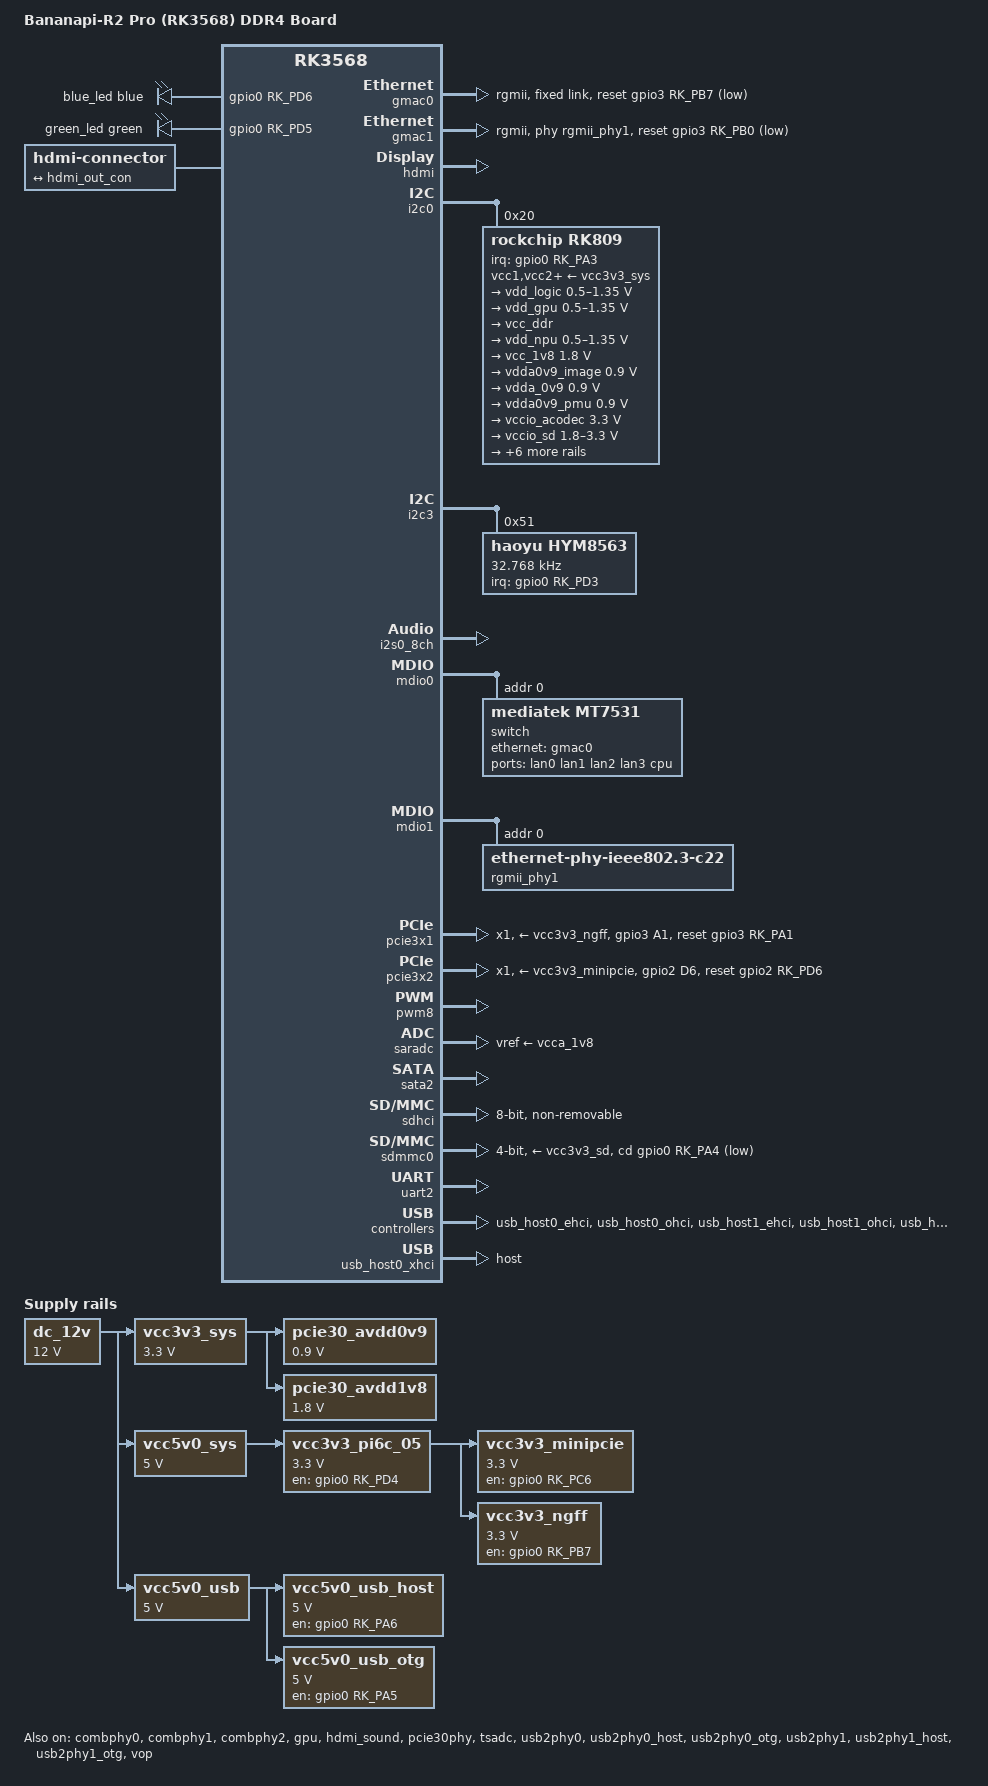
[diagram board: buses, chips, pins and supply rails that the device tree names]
// SPDX-License-Identifier: (GPL-2.0+ OR MIT)
/*
 * Author: Frank Wunderlich <frank-w@public-files.de>
 *
 */

/dts-v1/;
#include <dt-bindings/gpio/gpio.h>
#include <dt-bindings/leds/common.h>
#include <dt-bindings/pinctrl/rockchip.h>
#include <dt-bindings/soc/rockchip,vop2.h>
#include "rk3568.dtsi"

/ {
	model = "Bananapi-R2 Pro (RK3568) DDR4 Board";
	compatible = "rockchip,rk3568-bpi-r2pro", "rockchip,rk3568";

	aliases {
		ethernet0 = &gmac0;
		ethernet1 = &gmac1;
		mmc0 = &sdmmc0;
		mmc1 = &sdhci;
	};

	chosen: chosen {
		stdout-path = "serial2:1500000n8";
	};

	leds {
		compatible = "gpio-leds";
		pinctrl-names = "default";
		pinctrl-0 = <&blue_led_pin &green_led_pin>;

		blue_led: led-0 {
			color = <LED_COLOR_ID_BLUE>;
			default-state = "off";
			function = LED_FUNCTION_STATUS;
			gpios = <&gpio0 RK_PD6 GPIO_ACTIVE_HIGH>;
		};

		green_led: led-1 {
			color = <LED_COLOR_ID_GREEN>;
			default-state = "on";
			function = LED_FUNCTION_POWER;
			gpios = <&gpio0 RK_PD5 GPIO_ACTIVE_HIGH>;
		};
	};

	dc_12v: dc-12v-regulator {
		compatible = "regulator-fixed";
		regulator-name = "dc_12v";
		regulator-always-on;
		regulator-boot-on;
		regulator-min-microvolt = <12000000>;
		regulator-max-microvolt = <12000000>;
	};

	hdmi-con {
		compatible = "hdmi-connector";
		type = "a";

		port {
			hdmi_con_in: endpoint {
				remote-endpoint = <&hdmi_out_con>;
			};
		};
	};

	vcc3v3_sys: vcc3v3-sys-regulator {
		compatible = "regulator-fixed";
		regulator-name = "vcc3v3_sys";
		regulator-always-on;
		regulator-boot-on;
		regulator-min-microvolt = <3300000>;
		regulator-max-microvolt = <3300000>;
		vin-supply = <&dc_12v>;
	};

	vcc5v0_sys: vcc5v0-sys-regulator {
		compatible = "regulator-fixed";
		regulator-name = "vcc5v0_sys";
		regulator-always-on;
		regulator-boot-on;
		regulator-min-microvolt = <5000000>;
		regulator-max-microvolt = <5000000>;
		vin-supply = <&dc_12v>;
	};

	pcie30_avdd0v9: pcie30-avdd0v9-regulator {
		compatible = "regulator-fixed";
		regulator-name = "pcie30_avdd0v9";
		regulator-always-on;
		regulator-boot-on;
		regulator-min-microvolt = <900000>;
		regulator-max-microvolt = <900000>;
		vin-supply = <&vcc3v3_sys>;
	};

	pcie30_avdd1v8: pcie30-avdd1v8-regulator {
		compatible = "regulator-fixed";
		regulator-name = "pcie30_avdd1v8";
		regulator-always-on;
		regulator-boot-on;
		regulator-min-microvolt = <1800000>;
		regulator-max-microvolt = <1800000>;
		vin-supply = <&vcc3v3_sys>;
	};

	/* pi6c pcie clock generator feeds both ports */
	vcc3v3_pi6c_05: vcc3v3-pi6c-05-regulator {
		compatible = "regulator-fixed";
		regulator-name = "vcc3v3_pcie";
		regulator-min-microvolt = <3300000>;
		regulator-max-microvolt = <3300000>;
		enable-active-high;
		gpios = <&gpio0 RK_PD4 GPIO_ACTIVE_HIGH>;
		startup-delay-us = <200000>;
		vin-supply = <&vcc5v0_sys>;
	};

	/* actually fed by vcc3v3_sys, dependent on pi6c clock generator */
	vcc3v3_minipcie: vcc3v3-minipcie-regulator {
		compatible = "regulator-fixed";
		regulator-name = "vcc3v3_minipcie";
		regulator-min-microvolt = <3300000>;
		regulator-max-microvolt = <3300000>;
		enable-active-high;
		gpio = <&gpio0 RK_PC6 GPIO_ACTIVE_HIGH>;
		pinctrl-names = "default";
		pinctrl-0 = <&minipcie_enable_h>;
		startup-delay-us = <50000>;
		vin-supply = <&vcc3v3_pi6c_05>;
	};

	/* actually fed by vcc3v3_sys, dependent on pi6c clock generator */
	vcc3v3_ngff: vcc3v3-ngff-regulator {
		compatible = "regulator-fixed";
		regulator-name = "vcc3v3_ngff";
		regulator-min-microvolt = <3300000>;
		regulator-max-microvolt = <3300000>;
		enable-active-high;
		gpio = <&gpio0 RK_PB7 GPIO_ACTIVE_HIGH>;
		pinctrl-names = "default";
		pinctrl-0 = <&ngffpcie_enable_h>;
		startup-delay-us = <50000>;
		vin-supply = <&vcc3v3_pi6c_05>;
	};

	vcc5v0_usb: vcc5v0-usb-regulator {
		compatible = "regulator-fixed";
		regulator-name = "vcc5v0_usb";
		regulator-always-on;
		regulator-boot-on;
		regulator-min-microvolt = <5000000>;
		regulator-max-microvolt = <5000000>;
		vin-supply = <&dc_12v>;
	};

	vcc5v0_usb_host: vcc5v0-usb-host-regulator {
		compatible = "regulator-fixed";
		enable-active-high;
		gpio = <&gpio0 RK_PA6 GPIO_ACTIVE_HIGH>;
		pinctrl-names = "default";
		pinctrl-0 = <&vcc5v0_usb_host_en>;
		regulator-name = "vcc5v0_usb_host";
		regulator-min-microvolt = <5000000>;
		regulator-max-microvolt = <5000000>;
		vin-supply = <&vcc5v0_usb>;
	};

	vcc5v0_usb_otg: vcc5v0-usb-otg-regulator {
		compatible = "regulator-fixed";
		enable-active-high;
		gpio = <&gpio0 RK_PA5 GPIO_ACTIVE_HIGH>;
		pinctrl-names = "default";
		pinctrl-0 = <&vcc5v0_usb_otg_en>;
		regulator-name = "vcc5v0_usb_otg";
		regulator-min-microvolt = <5000000>;
		regulator-max-microvolt = <5000000>;
		vin-supply = <&vcc5v0_usb>;
	};
};

&combphy0 {
	/* used for USB3 */
	status = "okay";
};

&combphy1 {
	/* used for USB3 */
	status = "okay";
};

&combphy2 {
	/* used for SATA */
	status = "okay";
};

&gmac0 {
	assigned-clocks = <&cru SCLK_GMAC0_RX_TX>, <&cru SCLK_GMAC0>;
	assigned-clock-parents = <&cru SCLK_GMAC0_RGMII_SPEED>, <&cru CLK_MAC0_2TOP>;
	clock_in_out = "input";
	phy-mode = "rgmii";
	pinctrl-names = "default";
	pinctrl-0 = <&gmac0_miim
		     &gmac0_tx_bus2
		     &gmac0_rx_bus2
		     &gmac0_rgmii_clk
		     &gmac0_rgmii_bus>;
	snps,reset-gpio = <&gpio3 RK_PB7 GPIO_ACTIVE_LOW>;
	snps,reset-active-low;
	/* Reset time is 20ms, 100ms for rtl8211f */
	snps,reset-delays-us = <0 20000 100000>;
	tx_delay = <0x4f>;
	rx_delay = <0x0f>;
	status = "okay";

	fixed-link {
		speed = <1000>;
		full-duplex;
		pause;
	};
};

&gmac1 {
	assigned-clocks = <&cru SCLK_GMAC1_RX_TX>, <&cru SCLK_GMAC1>;
	assigned-clock-parents = <&cru SCLK_GMAC1_RGMII_SPEED>, <&cru CLK_MAC1_2TOP>;
	clock_in_out = "output";
	phy-handle = <&rgmii_phy1>;
	phy-mode = "rgmii";
	pinctrl-names = "default";
	pinctrl-0 = <&gmac1m1_miim
		     &gmac1m1_tx_bus2
		     &gmac1m1_rx_bus2
		     &gmac1m1_rgmii_clk
		     &gmac1m1_rgmii_bus>;

	snps,reset-gpio = <&gpio3 RK_PB0 GPIO_ACTIVE_LOW>;
	snps,reset-active-low;
	/* Reset time is 20ms, 100ms for rtl8211f */
	snps,reset-delays-us = <0 20000 100000>;

	tx_delay = <0x3c>;
	rx_delay = <0x2f>;

	status = "okay";
};

&gpu {
	mali-supply = <&vdd_gpu>;
	status = "okay";
};

&hdmi {
	avdd-0v9-supply = <&vdda0v9_image>;
	avdd-1v8-supply = <&vcca1v8_image>;
	status = "okay";
};

&hdmi_in {
	hdmi_in_vp0: endpoint {
		remote-endpoint = <&vp0_out_hdmi>;
	};
};

&hdmi_out {
	hdmi_out_con: endpoint {
		remote-endpoint = <&hdmi_con_in>;
	};
};

&hdmi_sound {
	status = "okay";
};

&i2c0 {
	status = "okay";

	rk809: pmic@20 {
		compatible = "rockchip,rk809";
		reg = <0x20>;
		interrupt-parent = <&gpio0>;
		interrupts = <RK_PA3 IRQ_TYPE_LEVEL_LOW>;
		#clock-cells = <1>;
		pinctrl-names = "default";
		pinctrl-0 = <&pmic_int>;
		rockchip,system-power-controller;
		vcc1-supply = <&vcc3v3_sys>;
		vcc2-supply = <&vcc3v3_sys>;
		vcc3-supply = <&vcc3v3_sys>;
		vcc4-supply = <&vcc3v3_sys>;
		vcc5-supply = <&vcc3v3_sys>;
		vcc6-supply = <&vcc3v3_sys>;
		vcc7-supply = <&vcc3v3_sys>;
		vcc8-supply = <&vcc3v3_sys>;
		vcc9-supply = <&vcc3v3_sys>;
		wakeup-source;

		regulators {
			vdd_logic: DCDC_REG1 {
				regulator-name = "vdd_logic";
				regulator-always-on;
				regulator-boot-on;
				regulator-init-microvolt = <900000>;
				regulator-initial-mode = <0x2>;
				regulator-min-microvolt = <500000>;
				regulator-max-microvolt = <1350000>;
				regulator-ramp-delay = <6001>;

				regulator-state-mem {
					regulator-off-in-suspend;
				};
			};

			vdd_gpu: DCDC_REG2 {
				regulator-name = "vdd_gpu";
				regulator-always-on;
				regulator-init-microvolt = <900000>;
				regulator-initial-mode = <0x2>;
				regulator-min-microvolt = <500000>;
				regulator-max-microvolt = <1350000>;
				regulator-ramp-delay = <6001>;

				regulator-state-mem {
					regulator-off-in-suspend;
				};
			};

			vcc_ddr: DCDC_REG3 {
				regulator-name = "vcc_ddr";
				regulator-always-on;
				regulator-boot-on;
				regulator-initial-mode = <0x2>;

				regulator-state-mem {
					regulator-on-in-suspend;
				};
			};

			vdd_npu: DCDC_REG4 {
				regulator-name = "vdd_npu";
				regulator-init-microvolt = <900000>;
				regulator-initial-mode = <0x2>;
				regulator-min-microvolt = <500000>;
				regulator-max-microvolt = <1350000>;
				regulator-ramp-delay = <6001>;

				regulator-state-mem {
					regulator-off-in-suspend;
				};
			};

			vcc_1v8: DCDC_REG5 {
				regulator-name = "vcc_1v8";
				regulator-always-on;
				regulator-boot-on;
				regulator-min-microvolt = <1800000>;
				regulator-max-microvolt = <1800000>;

				regulator-state-mem {
					regulator-off-in-suspend;
				};
			};

			vdda0v9_image: LDO_REG1 {
				regulator-name = "vdda0v9_image";
				regulator-always-on;
				regulator-min-microvolt = <900000>;
				regulator-max-microvolt = <900000>;

				regulator-state-mem {
					regulator-off-in-suspend;
				};
			};

			vdda_0v9: LDO_REG2 {
				regulator-name = "vdda_0v9";
				regulator-always-on;
				regulator-boot-on;
				regulator-min-microvolt = <900000>;
				regulator-max-microvolt = <900000>;

				regulator-state-mem {
					regulator-off-in-suspend;
				};
			};

			vdda0v9_pmu: LDO_REG3 {
				regulator-name = "vdda0v9_pmu";
				regulator-always-on;
				regulator-boot-on;
				regulator-min-microvolt = <900000>;
				regulator-max-microvolt = <900000>;

				regulator-state-mem {
					regulator-on-in-suspend;
					regulator-suspend-microvolt = <900000>;
				};
			};

			vccio_acodec: LDO_REG4 {
				regulator-name = "vccio_acodec";
				regulator-always-on;
				regulator-boot-on;
				regulator-min-microvolt = <3300000>;
				regulator-max-microvolt = <3300000>;

				regulator-state-mem {
					regulator-off-in-suspend;
				};
			};

			vccio_sd: LDO_REG5 {
				regulator-name = "vccio_sd";
				regulator-min-microvolt = <1800000>;
				regulator-max-microvolt = <3300000>;

				regulator-state-mem {
					regulator-off-in-suspend;
				};
			};

			vcc3v3_pmu: LDO_REG6 {
				regulator-name = "vcc3v3_pmu";
				regulator-always-on;
				regulator-boot-on;
				regulator-min-microvolt = <3300000>;
				regulator-max-microvolt = <3300000>;

				regulator-state-mem {
					regulator-on-in-suspend;
					regulator-suspend-microvolt = <3300000>;
				};
			};

			vcca_1v8: LDO_REG7 {
				regulator-name = "vcca_1v8";
				regulator-always-on;
				regulator-boot-on;
				regulator-min-microvolt = <1800000>;
				regulator-max-microvolt = <1800000>;

				regulator-state-mem {
					regulator-off-in-suspend;
				};
			};

			vcca1v8_pmu: LDO_REG8 {
				regulator-name = "vcca1v8_pmu";
				regulator-always-on;
				regulator-boot-on;
				regulator-min-microvolt = <1800000>;
				regulator-max-microvolt = <1800000>;

				regulator-state-mem {
					regulator-on-in-suspend;
					regulator-suspend-microvolt = <1800000>;
				};
			};

			vcca1v8_image: LDO_REG9 {
				regulator-name = "vcca1v8_image";
				regulator-always-on;
				regulator-min-microvolt = <1800000>;
				regulator-max-microvolt = <1800000>;

				regulator-state-mem {
					regulator-off-in-suspend;
				};
			};

			vcc_3v3: SWITCH_REG1 {
				regulator-name = "vcc_3v3";
				regulator-always-on;
				regulator-boot-on;

				regulator-state-mem {
					regulator-off-in-suspend;
				};
			};

			vcc3v3_sd: SWITCH_REG2 {
				regulator-name = "vcc3v3_sd";
				regulator-always-on;

				regulator-state-mem {
					regulator-off-in-suspend;
				};
			};
		};
	};
};

&i2c3 {
	status = "okay";

	hym8563: rtc@51 {
		compatible = "haoyu,hym8563";
		reg = <0x51>;
		interrupt-parent = <&gpio0>;
		interrupts = <RK_PD3 IRQ_TYPE_EDGE_FALLING>;
		#clock-cells = <0>;
		clock-frequency = <32768>;
		clock-output-names = "rtcic_32kout";
		pinctrl-names = "default";
		pinctrl-0 = <&hym8563_int>;
		wakeup-source;
	};
};

&i2c5 {
	/* pin 3 (SDA) + 4 (SCL) of header con2 */
	status = "disabled";
};

&i2s0_8ch {
	/* hdmi sound */
	status = "okay";
};

&mdio0 {
	#address-cells = <1>;
	#size-cells = <0>;

	switch@0 {
		compatible = "mediatek,mt7531";
		reg = <0>;

		ports {
			#address-cells = <1>;
			#size-cells = <0>;

			port@1 {
				reg = <1>;
				label = "lan0";
			};

			port@2 {
				reg = <2>;
				label = "lan1";
			};

			port@3 {
				reg = <3>;
				label = "lan2";
			};

			port@4 {
				reg = <4>;
				label = "lan3";
			};

			port@5 {
				reg = <5>;
				label = "cpu";
				ethernet = <&gmac0>;
				phy-mode = "rgmii";

				fixed-link {
					speed = <1000>;
					full-duplex;
					pause;
				};
			};
		};
	};
};

&mdio1 {
	rgmii_phy1: ethernet-phy@0 {
		compatible = "ethernet-phy-ieee802.3-c22";
		reg = <0x0>;
	};
};

&pcie30phy {
	data-lanes = <1 2>;
	phy-supply = <&vcc3v3_pi6c_05>;
	status = "okay";
};

&pcie3x1 {
	/* M.2 slot */
	num-lanes = <1>;
	pinctrl-names = "default";
	pinctrl-0 = <&ngffpcie_reset_h>;
	reset-gpios = <&gpio3 RK_PA1 GPIO_ACTIVE_HIGH>;
	vpcie3v3-supply = <&vcc3v3_ngff>;
	status = "okay";
};

&pcie3x2 {
	/* mPCIe slot */
	num-lanes = <1>;
	pinctrl-names = "default";
	pinctrl-0 = <&minipcie_reset_h>;
	reset-gpios = <&gpio2 RK_PD6 GPIO_ACTIVE_HIGH>;
	vpcie3v3-supply = <&vcc3v3_minipcie>;
	status = "okay";
};

&pinctrl {
	leds {
		blue_led_pin: blue-led-pin {
			rockchip,pins = <0 RK_PD6 RK_FUNC_GPIO &pcfg_pull_none>;
		};
		green_led_pin: green-led-pin {
			rockchip,pins = <0 RK_PD5 RK_FUNC_GPIO &pcfg_pull_none>;
		};
	};

	hym8563 {
		hym8563_int: hym8563-int {
			rockchip,pins = <0 RK_PD3 RK_FUNC_GPIO &pcfg_pull_none>;
		};
	};

	pcie {
		minipcie_enable_h: minipcie-enable-h {
			rockchip,pins = <0 RK_PC6 RK_FUNC_GPIO &pcfg_pull_none_drv_level_5>;
		};

		ngffpcie_enable_h: ngffpcie-enable-h {
			rockchip,pins = <0 RK_PB7 RK_FUNC_GPIO &pcfg_pull_none_drv_level_5>;
		};

		minipcie_reset_h: minipcie-reset-h {
			rockchip,pins = <2 RK_PD6 RK_FUNC_GPIO &pcfg_pull_none_drv_level_5>;
		};

		ngffpcie_reset_h: ngffpcie-reset-h {
			rockchip,pins = <3 RK_PA1 RK_FUNC_GPIO &pcfg_pull_none_drv_level_5>;
		};
	};

	pmic {
		pmic_int: pmic_int {
			rockchip,pins =
				<0 RK_PA3 RK_FUNC_GPIO &pcfg_pull_up>;
		};
	};

	usb {
		vcc5v0_usb_host_en: vcc5v0_usb_host_en {
			rockchip,pins = <0 RK_PA6 RK_FUNC_GPIO &pcfg_pull_none>;
		};

		vcc5v0_usb_otg_en: vcc5v0_usb_otg_en {
			rockchip,pins = <0 RK_PA5 RK_FUNC_GPIO &pcfg_pull_none>;
		};
	};
};

&pmu_io_domains {
	pmuio1-supply = <&vcc3v3_pmu>;
	pmuio2-supply = <&vcc3v3_pmu>;
	vccio1-supply = <&vccio_acodec>;
	vccio3-supply = <&vccio_sd>;
	vccio4-supply = <&vcc_3v3>;
	vccio5-supply = <&vcc_3v3>;
	vccio6-supply = <&vcc_1v8>;
	vccio7-supply = <&vcc_3v3>;
	status = "okay";
};

&pwm8 {
	/* fan 5v - gnd - pwm */
	status = "okay";
};

&pwm10 {
	/* pin 7 of header con2 */
	status = "disabled";
};

&pwm11 {
	/* pin 15 of header con2 */
	status = "disabled";
};

&pwm12 {
	/* pin 21 of header con2 */
	/* shared with uart9 + spi3 */
	pinctrl-0 = <&pwm12m1_pins>;
	status = "disabled";
};

&pwm13 {
	/* pin 24 of header con2 */
	/* shared with uart9 */
	pinctrl-0 = <&pwm13m1_pins>;
	status = "disabled";
};

&pwm14 {
	/* pin 23 of header con2 */
	/* shared with spi3 */
	pinctrl-0 = <&pwm14m1_pins>;
	status = "disabled";
};

&pwm15 {
	/* pin 19 of header con2 */
	/* shared with spi3 */
	pinctrl-0 = <&pwm15m1_pins>;
	status = "disabled";
};

&saradc {
	vref-supply = <&vcca_1v8>;
	status = "okay";
};

&sata2 {
	status = "okay";
};

&sdhci {
	bus-width = <8>;
	max-frequency = <200000000>;
	non-removable;
	pinctrl-names = "default";
	pinctrl-0 = <&emmc_bus8 &emmc_clk &emmc_cmd &emmc_datastrobe>;
	status = "okay";
};

&sdmmc0 {
	bus-width = <4>;
	cap-sd-highspeed;
	cd-gpios = <&gpio0 RK_PA4 GPIO_ACTIVE_LOW>;
	disable-wp;
	pinctrl-names = "default";
	pinctrl-0 = <&sdmmc0_bus4 &sdmmc0_clk &sdmmc0_cmd &sdmmc0_det>;
	sd-uhs-sdr104;
	vmmc-supply = <&vcc3v3_sd>;
	vqmmc-supply = <&vccio_sd>;
	status = "okay";
};

&spi3 {
	/* pin 19 (MO) + 21 (MI) + 23 (CK) of header con2 */
	/* shared with pwm12/14/15 and uart9 */
	pinctrl-0 = <&spi3m1_pins>;
	status = "disabled";
};

&tsadc {
	rockchip,hw-tshut-mode = <1>;
	rockchip,hw-tshut-polarity = <0>;
	status = "okay";
};

&uart0 {
	/* pin 8 (TX) + 10 (RX) (RTS:16, CTS:18) of header con2 */
	status = "disabled";
};

&uart2 {
	/* debug-uart */
	status = "okay";
};

&uart7 {
	/* pin 11 (TX) + 13 (RX) of header con2 */
	pinctrl-0 = <&uart7m1_xfer>;
	status = "disabled";
};

&uart9 {
	/* pin 21 (TX) + 24 (RX) of header con2 */
	/* shared with pwm13 and pwm12/spi3 */
	pinctrl-0 = <&uart9m1_xfer>;
	status = "disabled";
};

&usb_host0_ehci {
	status = "okay";
};

&usb_host0_ohci {
	status = "okay";
};

&usb_host0_xhci {
	dr_mode = "host";
	status = "okay";
};

&usb_host1_ehci {
	status = "okay";
};

&usb_host1_ohci {
	status = "okay";
};

&usb_host1_xhci {
	status = "okay";
};

&usb2phy0 {
	status = "okay";
};

&usb2phy0_host {
	phy-supply = <&vcc5v0_usb_host>;
	status = "okay";
};

&usb2phy0_otg {
	phy-supply = <&vcc5v0_usb_otg>;
	status = "okay";
};

&usb2phy1 {
	/* USB for PCIe/M2 */
	status = "okay";
};

&usb2phy1_host {
	status = "okay";
};

&usb2phy1_otg {
	status = "okay";
};

&vop {
	assigned-clocks = <&cru DCLK_VOP0>, <&cru DCLK_VOP1>;
	assigned-clock-parents = <&pmucru PLL_HPLL>, <&cru PLL_VPLL>;
	status = "okay";
};

&vop_mmu {
	status = "okay";
};

&vp0 {
	vp0_out_hdmi: endpoint@ROCKCHIP_VOP2_EP_HDMI0 {
		reg = <ROCKCHIP_VOP2_EP_HDMI0>;
		remote-endpoint = <&hdmi_in_vp0>;
	};
};
